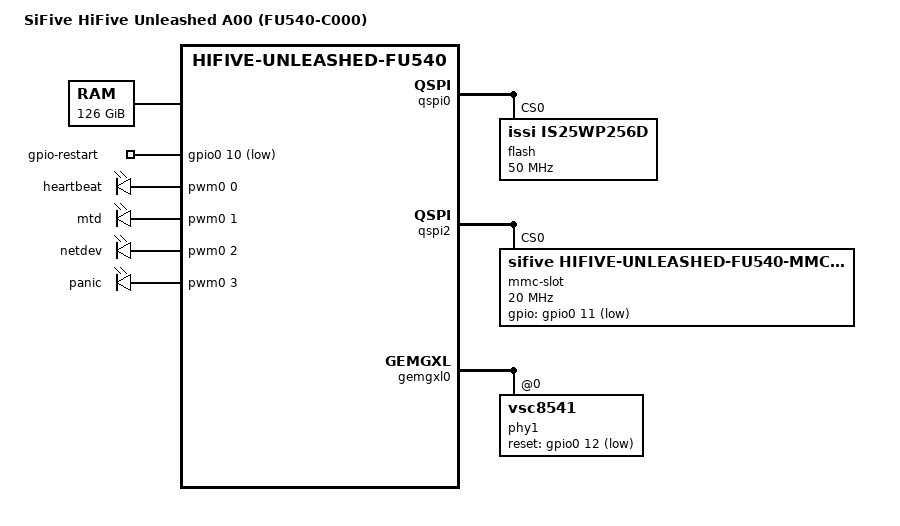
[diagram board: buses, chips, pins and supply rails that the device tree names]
// SPDX-License-Identifier: Apache-2.0
// SPDX-License-Identifier: GPL-2.0-or-later
/* Copyright (c) 2018 SiFive, Inc */
/* See the file LICENSE for further information */

/dts-v1/;

#include "fu540-c000.dtsi"

/ {
	#address-cells = <2>;
	#size-cells = <2>;
	model = "SiFive HiFive Unleashed A00 (FU540-C000)";
	compatible = "sifive,hifive-unleashed-a00-fu540",
		"sifive,hifive-unleashed-fu540";

	chosen {
	};

	memory@80000000 {
		device_type = "memory";
		reg = <0x0 0x80000000 0x1f 0x80000000>;
	};

	soc {
		hfclk: hfclk {
			#clock-cells = <0>;
			compatible = "fixed-clock";
			clock-frequency = <33333333>;
			clock-output-names = "hfclk";
		};
		rtcclk: rtcclk {
			#clock-cells = <0>;
			compatible = "fixed-clock";
			clock-frequency = <1000000>;
			clock-output-names = "rtcclk";
		};
		gpio-restart {
			compatible = "gpio-restart";
			gpios = <&gpio0 10 1>;
		};
		pwmleds {
			compatible = "pwm-leds";
			heartbeat {
				pwms = <&pwm0 0 0>;
				max-brightness = <255>;
				linux,default-trigger = "heartbeat";
			};
			mtd {
				pwms = <&pwm0 1 0>;
				max-brightness = <255>;
				linux,default-trigger = "mtd";
			};
			netdev {
				pwms = <&pwm0 2 0>;
				max-brightness = <255>;
				linux,default-trigger = "netdev";
			};
			panic {
				pwms = <&pwm0 3 0>;
				max-brightness = <255>;
				linux,default-trigger = "panic";
			};
		};
	};
};

&qspi0 {
	#address-cells = <1>;
	#size-cells = <0>;
	flash@0 {
		compatible = "issi,is25wp256d", "jedec,spi-nor";
		reg = <0>;
		spi-max-frequency = <50000000>;
		m25p,fast-read;
		spi-tx-bus-width = <4>;
		spi-rx-bus-width = <4>;
	};
};

&qspi2 {
	#address-cells = <1>;
	#size-cells = <0>;
	mmc-slot@0 {
		compatible = "sifive,hifive-unleashed-fu540-mmc-slot", "mmc-spi-slot";
		reg = <0>;
		voltage-ranges = <3300 3300>;
		spi-max-frequency = <20000000>;
		disable-wp;
		gpios = <&gpio0 11 1>;
		#address-cells = <1>;
		#size-cells = <0>;
	};
};

&gemgxl0 {
	#address-cells = <1>;
	#size-cells = <0>;
	phy1: vsc8541@0 {
		reg = <0>;
		reset-gpios = <&gpio0 12 1>;
	};
};
